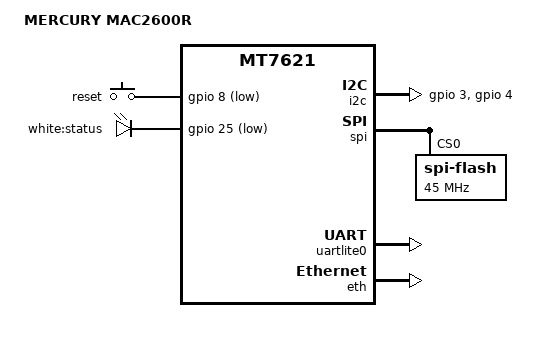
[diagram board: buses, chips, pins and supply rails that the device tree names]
// SPDX-License-Identifier: GPL-2.0+

/dts-v1/;
#include "mt7621.dtsi"

#include <dt-bindings/gpio/gpio.h>
#include <dt-bindings/input/input.h>

/ {
	model = "MERCURY MAC2600R";
	compatible = "mercury,mac2600r", "mediatek,mt7621-soc";

	aliases {
		spi0 = &spi;
	};

	chosen {
		stdout-path = &uartlite0;
	};

	config {
		reset-button = "reset";
		status1-led = "white:status";
	};

	keys {
		compatible = "gpio-keys";

		reset {
			label = "reset";
			gpios = <&gpio 8 GPIO_ACTIVE_LOW>;
			linux,code = <KEY_RESTART>;
		};
	};

	leds {
		compatible = "gpio-leds";

		status {
			label = "white:status";
			gpios = <&gpio 25 GPIO_ACTIVE_LOW>;
			default-state = "on";
		};
	};
};

&pinctrl {
	state_default: pinmux_conf {
		spi {
			groups = "spi";
			function = "spi";
		};

		sdhci {
			groups = "sdhci";
			function = "gpio";
		};

		jtag {
			groups = "jtag";
			function = "gpio";
		};

		wdt {
			groups = "wdt";
			function = "gpio";
		};

		rgmii2 {
			groups = "rgmii2";
			function = "gpio";
		};
	};
};

&gpio {
	status = "okay";
};

&i2c {
	gpios = <&gpio 3 1>, /* PIN3 as SDA */
		<&gpio 4 1>; /* PIN4 as CLK */
};

&spi {
	status = "okay";

	spi-max-frequency = <45000000>;

	spi-flash@0 {
		#address-cells = <1>;
		#size-cells = <1>;
		compatible = "spi-flash";
		spi-max-frequency = <45000000>;
		reg = <0>;
	};
};

&uartlite0 {
	status = "okay";
};

&eth {
	status = "okay";
};
